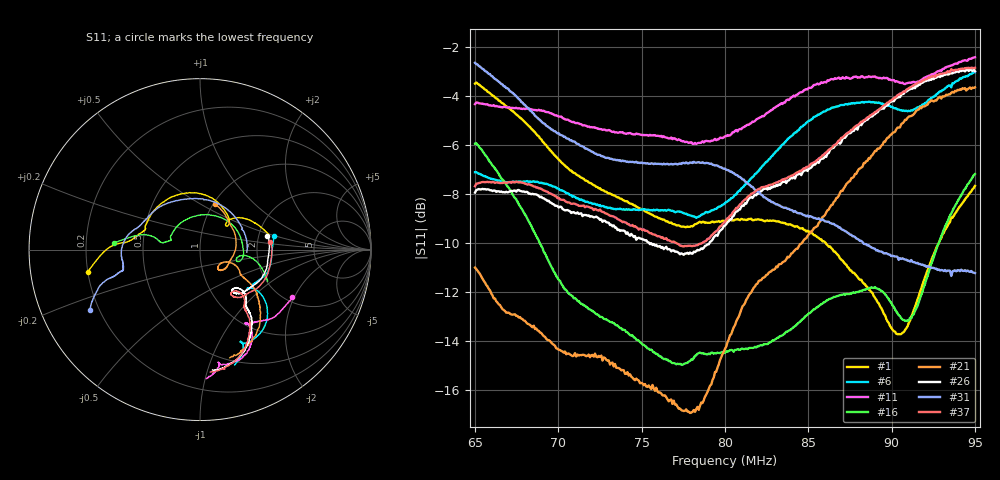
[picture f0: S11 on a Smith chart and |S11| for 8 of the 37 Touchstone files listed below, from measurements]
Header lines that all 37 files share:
! NanoVNA-App
! Start: 65MHz Stop: 95MHz Points: 401
! S-Parameter data: F S11
# Hz S RI R 50
!  Frequency  S11_Real  S11_Imag
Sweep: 65 MHz to 95 MHz
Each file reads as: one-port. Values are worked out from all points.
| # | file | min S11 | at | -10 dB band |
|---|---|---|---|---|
| 1 | SD68_330_90.s1p | -13.7 dB | 90.5 MHz | 6.803 MHz wide |
| 2 | SD68_350_0.s1p | -5.1 dB | 78.28 MHz | - |
| 3 | SD68_350_10.s1p | -5.6 dB | 78.28 MHz | - |
| 4 | SD68_350_20.s1p | -6.3 dB | 78.28 MHz | - |
| 5 | SD68_350_30.s1p | -7.4 dB | 78.2 MHz | - |
| 6 | SD68_350_40.s1p | -9.0 dB | 78.28 MHz | - |
| 7 | SD68_350_50.s1p | -12.8 dB | 78.28 MHz | 16.58 MHz wide |
| 8 | SD68_350_60.s1p | -24.7 dB | 74.45 MHz | 18.89 MHz wide |
| 9 | SD68_350_70.s1p | -14.2 dB | 90.65 MHz | 20.44 MHz wide |
| 10 | SD68_350_80.s1p | -9.4 dB | 90.2 MHz | - |
| 11 | SD68_370_0.s1p | -6.0 dB | 78.28 MHz | - |
| 12 | SD68_370_10.s1p | -6.8 dB | 78.28 MHz | - |
| 13 | SD68_370_20.s1p | -8.3 dB | 78.42 MHz | - |
| 14 | SD68_370_30.s1p | -11.4 dB | 78.28 MHz | 12 MHz wide |
| 15 | SD68_370_40.s1p | -20.9 dB | 73.17 MHz | over 19.05 MHz wide |
| 16 | SD68_370_50.s1p | -15.0 dB | 77.45 MHz | 23.95 MHz wide |
| 17 | SD68_370_60.s1p | -13.0 dB | 90.12 MHz | 6.206 MHz wide |
| 18 | SD68_384_0.s1p | -7.1 dB | 76.7 MHz | - |
| 19 | SD68_384_10.s1p | -8.9 dB | 77.22 MHz | - |
| 20 | SD68_384_20.s1p | -12.6 dB | 77.6 MHz | 11.86 MHz wide |
| 21 | SD68_384_25.s1p | -16.9 dB | 77.9 MHz | over 19.62 MHz wide |
| 22 | SD68_384_30.s1p | -28.2 dB | 78.05 MHz | over 21.76 MHz wide |
| 23 | SD68_384_34.s1p | -24.2 dB | 72.35 MHz | 22.28 MHz wide |
| 24 | SD68_384_40.s1p | -15.8 dB | 84.28 MHz | 21.12 MHz wide |
| 25 | SD68_384_50.s1p | -11.6 dB | 95 MHz | over 945.4 kHz wide |
| 26 | SD68_390_10.s1p | -10.5 dB | 77.53 MHz | 3.629 MHz wide |
| 27 | SD68_390_20.s1p | -17.3 dB | 78.05 MHz | over 20.01 MHz wide |
| 28 | SD68_390_25.s1p | -39.7 dB | 78.5 MHz | 22.27 MHz wide |
| 29 | SD68_390_30.s1p | -22.5 dB | 82.17 MHz | 22.48 MHz wide |
| 30 | SD68_390_35.s1p | -14.9 dB | 85.03 MHz | 20.41 MHz wide |
| 31 | SD68_390_40.s1p | -11.4 dB | 93.58 MHz | over 6.714 MHz wide |
| 32 | SD68_395_10.s1p | -12.5 dB | 77.97 MHz | 11.83 MHz wide |
| 33 | SD68_395_20.s1p | -29.0 dB | 78.5 MHz | over 22.14 MHz wide |
| 34 | SD68_395_25.s1p | -23.6 dB | 82.33 MHz | 22.82 MHz wide |
| 35 | SD68_395_30.s1p | -16.1 dB | 85.03 MHz | 21.56 MHz wide |
| 36 | SD68_395_40.s1p | -11.5 dB | 95 MHz | over 767.6 kHz wide |
| 37 | SD68_400_0.s1p | -10.1 dB | 77.53 MHz | 1.605 MHz wide |
